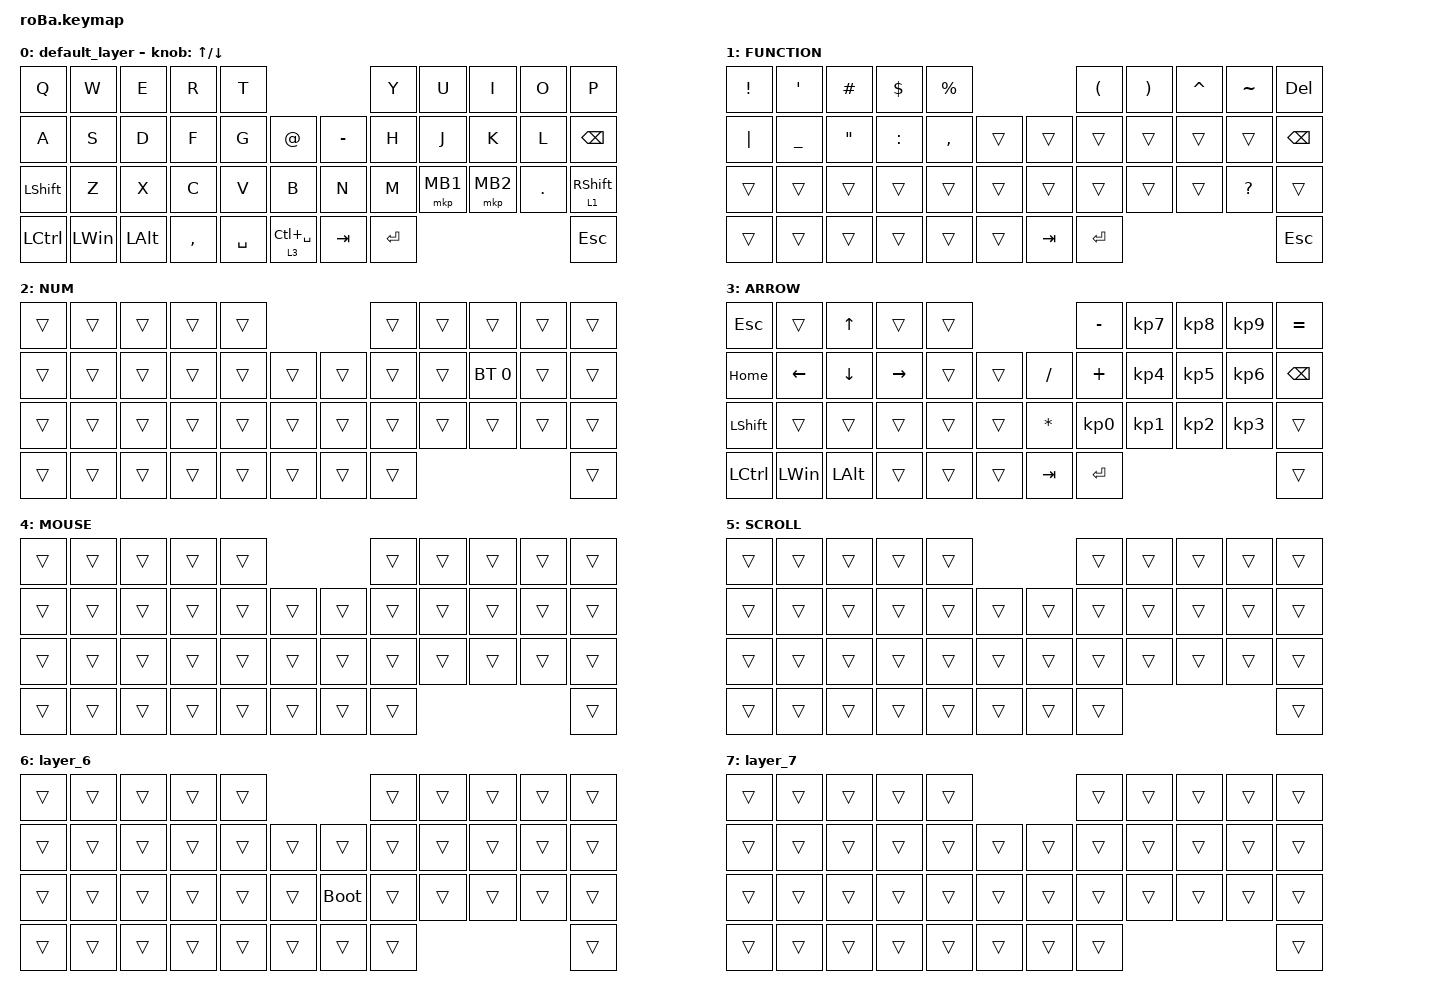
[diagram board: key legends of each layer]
#include <behaviors.dtsi>
#include <dt-bindings/zmk/bt.h>
#include <dt-bindings/zmk/keys.h>
#include <dt-bindings/zmk/pointing.h>

&mt {
    flavor = "balanced";
    quick-tap-ms = <0>;
};

&trackball {
    automouse-layer = <4>;
    scroll-layers = <5>;

    // arrows {
    //     layers = <3>;
    //     bindings =
    //         <&kp RIGHT_ARROW>,
    //         <&kp LEFT_ARROW>,
    //         <&kp UP_ARROW>,
    //         <&kp DOWN_ARROW>;
    //     tick = <10>;
    //     wait-ms = <5>;
    //     tap-ms = <5>;
    // };
};

/ {
    combos {
        compatible = "zmk,combos";

        tab {
            bindings = <&kp TAB>;
            key-positions = <11 12>;
        };

        shift_tab {
            bindings = <&kp LS(TAB)>;
            key-positions = <12 13>;
        };

        muhennkann {
            bindings = <&to_layer_0 INT_MUHENKAN>;
            key-positions = <11 10>;
        };

        double_quotation {
            bindings = <&kp DOUBLE_QUOTES>;
            key-positions = <20 21>;
        };

        eq {
            bindings = <&kp EQUAL>;
            key-positions = <24 25>;
        };
    };

    macros {
        to_layer_0: to_layer_0 {
            compatible = "zmk,behavior-macro-one-param";
            #binding-cells = <1>;
            bindings = <&to 0 &macro_param_1to1 &kp MACRO_PLACEHOLDER>;
            label = "TO_LAYER_0";
        };
    };

    behaviors {
        lt_to_layer_0: lt_to_layer_0 {
            compatible = "zmk,behavior-hold-tap";
            label = "LAYER_TAP_TO_0";
            bindings = <&mo>, <&to_layer_0>;

            #binding-cells = <2>;
            tapping-term-ms = <200>;
        };
    };

    keymap {
        compatible = "zmk,keymap";

        default_layer {
            bindings = <
&kp Q           &kp W         &kp E         &kp R      &kp T                                      &kp Y      &kp U     &kp I     &kp O       &kp P
&kp A           &kp S         &kp D         &kp F      &kp G      &kp AT_SIGN          &kp MINUS  &kp H      &kp J     &kp K     &kp L       &kp BACKSPACE
&kp LEFT_SHIFT  &kp Z         &kp X         &kp C      &kp V      &kp B                &kp N      &kp M      &mkp MB1  &mkp MB2  &kp PERIOD  &lt 1 RSHIFT
&kp LCTRL       &kp LEFT_WIN  &kp LEFT_ALT  &kp COMMA  &kp SPACE  &lt 3 LC(SPACE)      &kp TAB    &kp ENTER                                  &kp ESCAPE
            >;

            sensor-bindings = <&inc_dec_kp UP_ARROW DOWN_ARROW>;
        };

        FUNCTION {
            bindings = <
&kp EXCLAMATION  &kp SINGLE_QUOTE  &kp HASH           &kp DOLLAR  &kp PERCENT                       &kp LEFT_PARENTHESIS  &kp RIGHT_PARENTHESIS  &kp CARET  &kp TILDE     &kp DEL
&kp PIPE         &kp UNDERSCORE    &kp DOUBLE_QUOTES  &kp COLON   &kp COMMA    &trans      &trans   &trans                &trans                 &trans     &trans        &kp BACKSPACE
&trans           &trans            &trans             &trans      &trans       &trans      &trans   &trans                &trans                 &trans     &kp QUESTION  &trans
&trans           &trans            &trans             &trans      &trans       &trans      &kp TAB  &kp ENTER                                                             &kp ESCAPE
            >;
        };

        NUM {
            bindings = <
&trans  &trans  &trans  &trans  &trans                      &trans  &trans  &trans        &trans  &trans
&trans  &trans  &trans  &trans  &trans  &trans      &trans  &trans  &trans  &bt BT_SEL 0  &trans  &trans
&trans  &trans  &trans  &trans  &trans  &trans      &trans  &trans  &trans  &trans        &trans  &trans
&trans  &trans  &trans  &trans  &trans  &trans      &trans  &trans                                &trans
            >;
        };

        ARROW {
            bindings = <
&kp ESCAPE        &trans          &kp UP_ARROW    &trans           &trans                            &kp MINUS        &kp KP_NUMBER_7  &kp KP_NUMBER_8  &kp KP_NUMBER_9  &kp EQUAL
&kp HOME          &kp LEFT_ARROW  &kp DOWN_ARROW  &kp RIGHT_ARROW  &trans  &trans      &kp SLASH     &kp PLUS         &kp KP_NUMBER_4  &kp KP_NUMBER_5  &kp KP_NUMBER_6  &kp BACKSPACE
&kp LEFT_SHIFT    &trans          &trans          &trans           &trans  &trans      &kp ASTERISK  &kp KP_NUMBER_0  &kp KP_NUMBER_1  &kp KP_NUMBER_2  &kp KP_NUMBER_3  &trans
&kp LEFT_CONTROL  &kp LEFT_WIN    &kp LEFT_ALT    &trans           &trans  &trans      &kp TAB       &kp ENTER                                                           &trans
            >;
        };

        MOUSE {
            bindings = <
&trans  &trans  &trans  &trans  &trans                      &trans  &trans  &trans  &trans  &trans
&trans  &trans  &trans  &trans  &trans  &trans      &trans  &trans  &trans  &trans  &trans  &trans
&trans  &trans  &trans  &trans  &trans  &trans      &trans  &trans  &trans  &trans  &trans  &trans
&trans  &trans  &trans  &trans  &trans  &trans      &trans  &trans                          &trans
            >;
        };

        SCROLL {
            bindings = <
&trans  &trans  &trans  &trans  &trans                      &trans  &trans  &trans  &trans  &trans
&trans  &trans  &trans  &trans  &trans  &trans      &trans  &trans  &trans  &trans  &trans  &trans
&trans  &trans  &trans  &trans  &trans  &trans      &trans  &trans  &trans  &trans  &trans  &trans
&trans  &trans  &trans  &trans  &trans  &trans      &trans  &trans                          &trans
            >;
        };

        layer_6 {
            bindings = <
&trans  &trans  &trans  &trans  &trans                           &trans  &trans  &trans  &trans  &trans
&trans  &trans  &trans  &trans  &trans  &trans      &trans       &trans  &trans  &trans  &trans  &trans
&trans  &trans  &trans  &trans  &trans  &trans      &bootloader  &trans  &trans  &trans  &trans  &trans
&trans  &trans  &trans  &trans  &trans  &trans      &trans       &trans                          &trans
            >;
        };

        layer_7 {
            bindings = <
&trans  &trans  &trans  &trans  &trans                      &trans  &trans  &trans  &trans  &trans
&trans  &trans  &trans  &trans  &trans  &trans      &trans  &trans  &trans  &trans  &trans  &trans
&trans  &trans  &trans  &trans  &trans  &trans      &trans  &trans  &trans  &trans  &trans  &trans
&trans  &trans  &trans  &trans  &trans  &trans      &trans  &trans                          &trans
            >;
        };
    };
};
